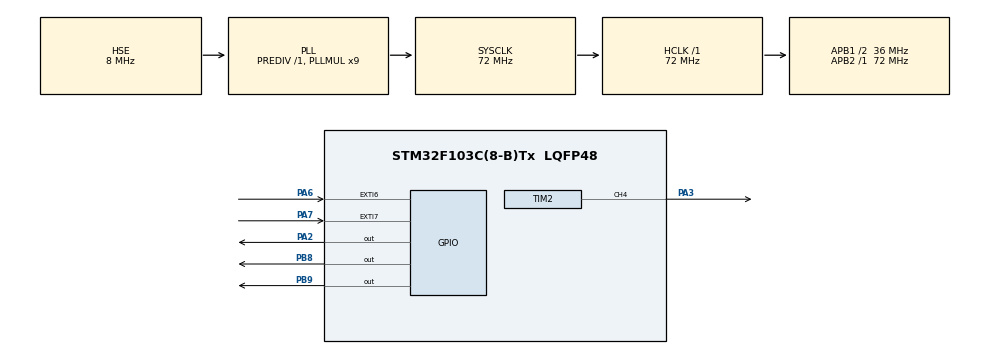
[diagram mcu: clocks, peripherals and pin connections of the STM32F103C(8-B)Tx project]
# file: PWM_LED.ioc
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Mcu.Family=STM32F1
Mcu.Name=STM32F103C(8-B)Tx
Mcu.Package=LQFP48
NVIC.EXTI9_5_IRQn=true\:1\:0\:true\:false\:true\:true\:true\:true
NVIC.PriorityGroup=NVIC_PRIORITYGROUP_4
NVIC.TIM2_IRQn=true\:2\:0\:true\:false\:true\:true\:true\:true
PA13.Mode=Serial_Wire
PA13.Signal=SYS_JTMS-SWDIO
PA14.Mode=Serial_Wire
PA14.Signal=SYS_JTCK-SWCLK
PA2.PinState=GPIO_PIN_SET
PA2.Signal=GPIO_Output
PA3.Signal=S_TIM2_CH4
PA6.GPIO_ModeDefaultEXTI=GPIO_MODE_IT_FALLING
PA6.GPIO_PuPd=GPIO_PULLUP
PA6.Signal=GPXTI6
PA7.GPIO_ModeDefaultEXTI=GPIO_MODE_IT_FALLING
PA7.GPIO_PuPd=GPIO_PULLUP
PA7.Signal=GPXTI7
PB8.GPIO_Speed=GPIO_SPEED_FREQ_HIGH
PB8.Signal=GPIO_Output
PB9.GPIO_Speed=GPIO_SPEED_FREQ_HIGH
PB9.Signal=GPIO_Output
PC14-OSC32_IN.Mode=LSE-External-Oscillator
PC14-OSC32_IN.Signal=RCC_OSC32_IN
PC15-OSC32_OUT.Mode=LSE-External-Oscillator
PC15-OSC32_OUT.Signal=RCC_OSC32_OUT
PD0-OSC_IN.Mode=HSE-External-Oscillator
PD0-OSC_IN.Signal=RCC_OSC_IN
PD1-OSC_OUT.Mode=HSE-External-Oscillator
PD1-OSC_OUT.Signal=RCC_OSC_OUT
ProjectManager.HeapSize=0x200
ProjectManager.StackSize=0x400
ProjectManager.TargetToolchain=MDK-ARM V5.32
RCC.AHBFreq_Value=72000000
RCC.APB1CLKDivider=RCC_HCLK_DIV2
RCC.APB1Freq_Value=36000000
RCC.APB1TimFreq_Value=72000000
RCC.APB2Freq_Value=72000000
RCC.APB2TimFreq_Value=72000000
RCC.HCLKFreq_Value=72000000
RCC.PLLMUL=RCC_PLL_MUL9
RCC.PLLSourceVirtual=RCC_PLLSOURCE_HSE
RCC.SYSCLKFreq_VALUE=72000000
RCC.SYSCLKSource=RCC_SYSCLKSOURCE_PLLCLK
RCC.USBFreq_Value=72000000
SH.S_TIM2_CH4.0=TIM2_CH4,PWM Generation4 CH4
TIM2.Channel-PWM\ Generation4\ CH4=TIM_CHANNEL_4
TIM2.Period=100-1
TIM2.Prescaler=72-1
TIM2.Pulse-PWM\ Generation4\ CH4=99
VP_TIM2_VS_ClockSourceINT.Mode=Internal
board=custom

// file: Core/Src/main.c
/* USER CODE BEGIN Header */
/**
  ******************************************************************************
  * @file           : main.c
  * @brief          : Main program body
  ******************************************************************************
  * @attention
  *
  * Copyright (c) 2026 STMicroelectronics.
  * All rights reserved.
  *
  * This software is licensed under terms that can be found in the LICENSE file
  * in the root directory of this software component.
  * If no LICENSE file comes with this software, it is provided AS-IS.
  *
  ******************************************************************************
  */
/* USER CODE END Header */
#include "main.h"
#include "tim.h"
#include "gpio.h"

/* USER CODE BEGIN Includes */
#include "oled.h"
/* USER CODE END Includes */

/* USER CODE BEGIN PV */
volatile int i=50;
volatile uint16_t flag=0;
uint32_t last_trigger_time6 = 0;  //PA6上一次触发时间戳
uint32_t last_trigger_time7 = 0;  //PA7上一次触发时间戳

/* USER CODE END PV */

void SystemClock_Config(void);

int main(void)
{

  /* MCU Configuration--------------------------------------------------------*/

  /* Reset of all peripherals, Initializes the Flash interface and the Systick. */
  HAL_Init();

  /* Configure the system clock */
  SystemClock_Config();

  /* Initialize all configured peripherals */
  MX_GPIO_Init();
  MX_TIM2_Init();
  /* USER CODE BEGIN 2 */
  OLED_Init();
  HAL_TIM_PWM_Start(&htim2,TIM_CHANNEL_4);//开启PWM
  OLED_Clear(0x00);//OLED清屏
  OLED_ShowString(0,0,(uint8_t*)"Duty:",16);

  /* USER CODE END 2 */

  /* Infinite loop */
  /* USER CODE BEGIN WHILE */
  while (1)
  {

	  if(flag==1 || flag==2)
	  {
		  if(HAL_GPIO_ReadPin(GPIOA,GPIO_PIN_6)==GPIO_PIN_RESET)
		  {
			  i=i+5;//CCR+5
			   if(i>=100)//把i锁定在最大值
	          {
		          i=100;
	          }
		  }
		  if(HAL_GPIO_ReadPin(GPIOA,GPIO_PIN_7)==GPIO_PIN_RESET)
		  {
			  i=i-5;//CCR-5
			  if(i<=0)//把i锁定在最小值
	          {
		          i=0;
	          }
		  }
		flag=0;
	  }

	  __HAL_TIM_SET_COMPARE(&htim2,TIM_CHANNEL_4,i);//改变比较寄存器的值
	  int duty=i*100/(htim2.Init.Period+1);//写出占空比计算公式
	  OLED_ShowNum(40,0,duty,3,16);//输出占空比
	 OLED_ShowChar(64,0,'%',16);//输出那个百分号

    /* USER CODE END WHILE */

  }
}

void SystemClock_Config(void)
{
  RCC_OscInitTypeDef RCC_OscInitStruct = {0};
  RCC_ClkInitTypeDef RCC_ClkInitStruct = {0};

  /** Initializes the RCC Oscillators according to the specified parameters
  * in the RCC_OscInitTypeDef structure.
  */
  RCC_OscInitStruct.OscillatorType = RCC_OSCILLATORTYPE_HSE;
  RCC_OscInitStruct.HSEState = RCC_HSE_ON;
  RCC_OscInitStruct.HSEPredivValue = RCC_HSE_PREDIV_DIV1;
  RCC_OscInitStruct.HSIState = RCC_HSI_ON;
  RCC_OscInitStruct.PLL.PLLState = RCC_PLL_ON;
  RCC_OscInitStruct.PLL.PLLSource = RCC_PLLSOURCE_HSE;
  RCC_OscInitStruct.PLL.PLLMUL = RCC_PLL_MUL9;
  if (HAL_RCC_OscConfig(&RCC_OscInitStruct) != HAL_OK)
  {
    Error_Handler();
  }

  /** Initializes the CPU, AHB and APB buses clocks
  */
  RCC_ClkInitStruct.ClockType = RCC_CLOCKTYPE_HCLK|RCC_CLOCKTYPE_SYSCLK
                              |RCC_CLOCKTYPE_PCLK1|RCC_CLOCKTYPE_PCLK2;
  RCC_ClkInitStruct.SYSCLKSource = RCC_SYSCLKSOURCE_PLLCLK;
  RCC_ClkInitStruct.AHBCLKDivider = RCC_SYSCLK_DIV1;
  RCC_ClkInitStruct.APB1CLKDivider = RCC_HCLK_DIV2;
  RCC_ClkInitStruct.APB2CLKDivider = RCC_HCLK_DIV1;

  if (HAL_RCC_ClockConfig(&RCC_ClkInitStruct, FLASH_LATENCY_2) != HAL_OK)
  {
    Error_Handler();
  }
}

/* USER CODE BEGIN 4 */
void HAL_GPIO_EXTI_Callback(uint16_t GPIO_Pin)
{
	uint32_t now = HAL_GetTick();  //获取当前时间戳
	if(GPIO_Pin==GPIO_PIN_6)
	{
	    if( now - last_trigger_time6 > 400 )
		{
		   flag=1;
		  last_trigger_time6 = now; //更新最后触发时间
		}
	}
	if(GPIO_Pin==GPIO_PIN_7)
	{
	    if( now - last_trigger_time6 > 400 )
		{
		    flag=2;
			last_trigger_time6 = now; //更新最后触发时间
		}
	}
}

/* USER CODE END 4 */

void Error_Handler(void)
{
  __disable_irq();
  while (1)
  {
  }
}
